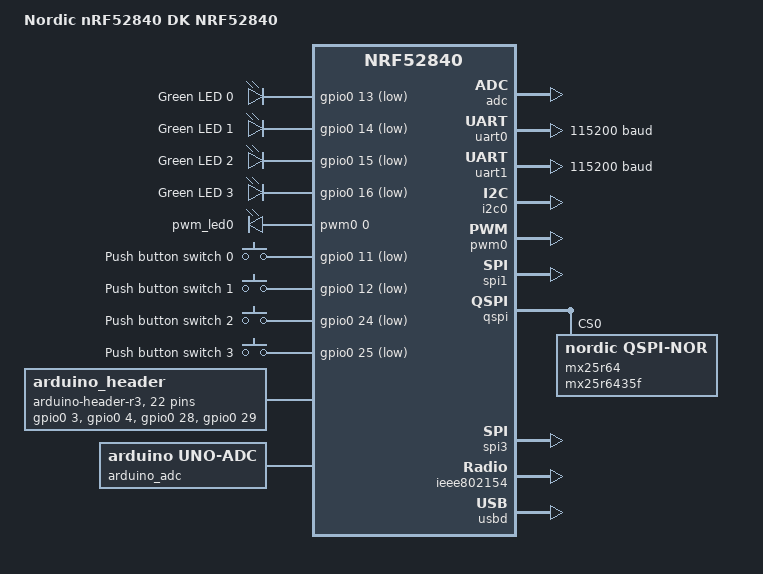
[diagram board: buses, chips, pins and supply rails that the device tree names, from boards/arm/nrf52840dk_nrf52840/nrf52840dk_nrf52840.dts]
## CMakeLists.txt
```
# SPDX-License-Identifier: Apache-2.0

cmake_minimum_required(VERSION 3.20.0)

set(COMMON_PATH "C:/ncs/v2.4.2/modules/hal/nordic/nrfx/samples/common")
 
find_package(Zephyr REQUIRED HINTS $ENV{ZEPHYR_BASE})
project(nrf_5351)

target_include_directories(app PRIVATE  src/ADC
                                        src/FreqGenerator
)
                                        
target_sources(app PRIVATE  
                            src/FreqGenerator/FreqGenerator.c
                            src/ADC/ADCHandler.c
                            src/main.c)
```

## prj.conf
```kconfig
CONFIG_ADC=y
CONFIG_ADC_ASYNC=y
CONFIG_GPIO=y
CONFIG_STDOUT_CONSOLE=y
CONFIG_PRINTK=y
CONFIG_PWM=y
CONFIG_LOG_PRINTK=y
CONFIG_LOG_MODE_IMMEDIATE=y
CONFIG_PWM_LOG_LEVEL_DBG=y
CONFIG_NEWLIB_LIBC=y
CONFIG_ADC_NRFX_SAADC=y
CONFIG_NRFX_SAADC=y
CONFIG_LOG=y
CONFIG_PM=y
CONFIG_PM_DEVICE=y
#CONFIG_TRACING_SYSCALL=y

#RTC lib enabling
CONFIG_I2C=y

CONFIG_BT=y
CONFIG_BT_PERIPHERAL=y
CONFIG_BT_DEVICE_NAME="VISENSE_CAPSENSE"
CONFIG_BT_CTLR_ADV_EXT=y
CONFIG_BT_EXT_ADV=y
CONFIG_BT_CTLR_ADV_DATA_LEN_MAX=251

CONFIG_BT_USER_DATA_LEN_UPDATE=y
CONFIG_BT_USER_PHY_UPDATE=y
CONFIG_BT_GAP_AUTO_UPDATE_CONN_PARAMS=n
CONFIG_HEAP_MEM_POOL_SIZE=9216
CONFIG_BT_BUF_ACL_RX_SIZE=498
CONFIG_BT_ATT_PREPARE_COUNT=2
CONFIG_BT_L2CAP_TX_MTU=494

CONFIG_BT_BUF_ACL_TX_COUNT=10
CONFIG_BT_BUF_ACL_TX_SIZE=498
CONFIG_BT_AUTO_PHY_UPDATE=y
CONFIG_BT_CTLR_DATA_LENGTH_MAX=251

CONFIG_LOG_DEFAULT_LEVEL=3

# CONFIG_FLASH=y
# CONFIG_FLASH_PAGE_LAYOUT=y

# CONFIG_NVS=y
# CONFIG_NVS_LOG_LEVEL_DBG=y
CONFIG_REBOOT=y
# CONFIG_MPU_ALLOW_FLASH_WRITE=y

#Enable timer1
CONFIG_NRFX_TIMER1=y

#temperature sensor
CONFIG_SENSOR=y
CONFIG_W1=y
CONFIG_SENSOR_LOG_LEVEL_DBG=y

#Floating point support
CONFIG_CBPRINTF_FP_SUPPORT=y
CONFIG_NEWLIB_LIBC_FLOAT_PRINTF=y
CONFIG_CBPRINTF_COMPLETE=y
```

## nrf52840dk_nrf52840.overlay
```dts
// To get started, press Ctrl+Space to bring up the completion menu and view the available nodes.

// You can also use the buttons in the sidebar to perform actions on nodes.
// Actions currently available include:

// * Enabling / disabling the node
// * Adding the bus to a bus
// * Removing the node
// * Connecting ADC channels

// For more help, browse the DeviceTree documentation at https://docs.zephyrproject.org/latest/guides/dts/index.html
// You can also visit the nRF DeviceTree extension documentation at https://nrfconnect.github.io/vscode-nrf-connect/devicetree/nrfdevicetree.html
&i2c0 {
	compatible = "nordic,nrf-twi";
	status = "okay";
	pinctrl-0 = <&i2c0_default>;
	pinctrl-1 = <&i2c0_sleep>;
	pinctrl-names = "default", "sleep";
};
```

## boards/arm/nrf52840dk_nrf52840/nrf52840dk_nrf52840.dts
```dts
/*
 * Copyright (c) 2017 Linaro Limited
 *
 * SPDX-License-Identifier: Apache-2.0
 */

/dts-v1/;
#include <nordic/nrf52840_qiaa.dtsi>
#include "nrf52840dk_nrf52840-pinctrl.dtsi"

/ {
	model = "Nordic nRF52840 DK NRF52840";
	compatible = "nordic,nrf52840-dk-nrf52840";

	chosen {
		zephyr,console = &uart0;
		zephyr,shell-uart = &uart0;
		zephyr,uart-mcumgr = &uart0;
		zephyr,bt-mon-uart = &uart0;
		zephyr,bt-c2h-uart = &uart0;
		zephyr,sram = &sram0;
		zephyr,flash = &flash0;
		zephyr,code-partition = &slot0_partition;
		zephyr,ieee802154 = &ieee802154;
	};

	leds {
		compatible = "gpio-leds";
		led0: led_0 {
			gpios = <&gpio0 13 GPIO_ACTIVE_LOW>;
			label = "Green LED 0";
		};
		led1: led_1 {
			gpios = <&gpio0 14 GPIO_ACTIVE_LOW>;
			label = "Green LED 1";
		};
		led2: led_2 {
			gpios = <&gpio0 15 GPIO_ACTIVE_LOW>;
			label = "Green LED 2";
		};
		led3: led_3 {
			gpios = <&gpio0 16 GPIO_ACTIVE_LOW>;
			label = "Green LED 3";
		};
	};
	
	powerpins {
		testpin0: testpin_0 {
			compatible = "eac,testpin";
			gpios = <&gpio1 11 GPIO_ACTIVE_LOW>;
			status = "okay";
		};
		testpin1: testpin_1 {
			compatible = "eac,testpin";
			gpios = <&gpio1 10 GPIO_ACTIVE_LOW>;
			status = "okay";
		};
		muxinputa: muxinput_a {
			compatible = "eac,testpin";
			gpios = <&gpio1 6 GPIO_ACTIVE_LOW>;
			status = "okay";
		};
		muxinputb: muxinput_b {
			compatible = "eac,testpin";
			gpios = <&gpio1 7 GPIO_ACTIVE_LOW>;
			status = "okay";
		};
		muxenable: mux_enable {
			compatible = "eac,testpin";
			gpios = <&gpio1 5 GPIO_ACTIVE_LOW>;
			status = "okay";
		};		
	};
	
	pwmleds {
		compatible = "pwm-leds";
		pwm_led0: pwm_led_0 {
			pwms = <&pwm0 0 PWM_MSEC(20) PWM_POLARITY_INVERTED>;
		};
	};

	buttons {
		compatible = "gpio-keys";
		button0: button_0 {
			gpios = <&gpio0 11 (GPIO_PULL_UP | GPIO_ACTIVE_LOW)>;
			label = "Push button switch 0";
		};
		button1: button_1 {
			gpios = <&gpio0 12 (GPIO_PULL_UP | GPIO_ACTIVE_LOW)>;
			label = "Push button switch 1";
		};
		button2: button_2 {
			gpios = <&gpio0 24 (GPIO_PULL_UP | GPIO_ACTIVE_LOW)>;
			label = "Push button switch 2";
		};
		button3: button_3 {
			gpios = <&gpio0 25 (GPIO_PULL_UP | GPIO_ACTIVE_LOW)>;
			label = "Push button switch 3";
		};
	};

	arduino_header: connector {
		compatible = "arduino-header-r3";
		#gpio-cells = <2>;
		gpio-map-mask = <0xffffffff 0xffffffc0>;
		gpio-map-pass-thru = <0 0x3f>;
		gpio-map = <0 0 &gpio0 3 0>,	/* A0 */
			   <1 0 &gpio0 4 0>,	/* A1 */
			   <2 0 &gpio0 28 0>,	/* A2 */
			   <3 0 &gpio0 29 0>,	/* A3 */
			   <4 0 &gpio0 30 0>,	/* A4 */
			   <5 0 &gpio0 31 0>,	/* A5 */
			   <6 0 &gpio1 1 0>,	/* D0 */
			   <7 0 &gpio1 2 0>,	/* D1 */
			   <8 0 &gpio1 3 0>,	/* D2 */
			   <9 0 &gpio1 4 0>,	/* D3 */
			   <10 0 &gpio1 5 0>,	/* D4 */
			   <11 0 &gpio1 6 0>,	/* D5 */
			   <12 0 &gpio1 7 0>,	/* D6 */
			   <13 0 &gpio1 8 0>,	/* D7 */
			   <14 0 &gpio1 10 0>,	/* D8 */
			   <15 0 &gpio1 11 0>,	/* D9 */
			   <16 0 &gpio1 12 0>,	/* D10 */
			   <17 0 &gpio1 13 0>,	/* D11 */
			   <18 0 &gpio1 14 0>,	/* D12 */
			   <19 0 &gpio1 15 0>,	/* D13 */
			   <20 0 &gpio0 26 0>,	/* D14 */
			   <21 0 &gpio0 27 0>;	/* D15 */
	};

	arduino_adc: analog-connector {
		compatible = "arduino,uno-adc";
		#io-channel-cells = <1>;
		io-channel-map = <0 &adc 1>;	/* A0 = P0.3 = AIN1 */
	};

	/* These aliases are provided for compatibility with samples */
	aliases {
		led0 = &led0;
		led1 = &led1;
		led2 = &led2;
		led3 = &led3;
		pwm-led0 = &pwm_led0;
		testpin0 = &testpin0;
		testpin1 = &testpin1;
		muxinputa = &muxinputa;
		muxinputb  = &muxinputb;
		muxenable = &muxenable;
		sw0 = &button0;
		sw1 = &button1;
		sw2 = &button2;
		sw3 = &button3;
		bootloader-led0 = &led0;
		mcuboot-button0 = &button0;
		mcuboot-led0 = &led0;
		watchdog0 = &wdt0;
		spi-flash0 = &mx25r64;
	};
};

&adc {
	status = "okay";
};

&gpiote {
	status = "okay";
};

&gpio0 {
	status = "okay";
};

&gpio1 {
	status = "okay";
};

&uart0 {
	compatible = "nordic,nrf-uarte";
	status = "okay";
	current-speed = <115200>;
	pinctrl-0 = <&uart0_default>;
	pinctrl-1 = <&uart0_sleep>;
	pinctrl-names = "default", "sleep";
};

arduino_serial: &uart1 {
	current-speed = <115200>;
	pinctrl-0 = <&uart1_default>;
	pinctrl-1 = <&uart1_sleep>;
	pinctrl-names = "default", "sleep";
};

arduino_i2c: &i2c0 {
	compatible = "nordic,nrf-twi";
	status = "okay";
	pinctrl-0 = <&i2c0_default>;
	pinctrl-1 = <&i2c0_sleep>;
	pinctrl-names = "default", "sleep";
};

&i2c1 {
	compatible = "nordic,nrf-twi";
	/* Cannot be used together with spi1. */
	pinctrl-0 = <&i2c1_default>;
	pinctrl-1 = <&i2c1_sleep>;
	pinctrl-names = "default", "sleep";
};

&pwm0 {
	status = "okay";
	pinctrl-0 = <&pwm0_default>;
	pinctrl-1 = <&pwm0_sleep>;
	pinctrl-names = "default", "sleep";
};

&spi0 {
	compatible = "nordic,nrf-spi";
	/* Cannot be used together with i2c0. */
	/* status = "okay"; */
	pinctrl-0 = <&spi0_default>;
	pinctrl-1 = <&spi0_sleep>;
	pinctrl-names = "default", "sleep";
};

&spi1 {
	compatible = "nordic,nrf-spi";
	status = "okay";
	pinctrl-0 = <&spi1_default>;
	pinctrl-1 = <&spi1_sleep>;
	pinctrl-names = "default", "sleep";
};

&spi2 {
	compatible = "nordic,nrf-spi";
	status = "disabled";
	pinctrl-0 = <&spi2_default>;
	pinctrl-1 = <&spi2_sleep>;
	pinctrl-names = "default", "sleep";
};

&qspi {
	status = "okay";
	pinctrl-0 = <&qspi_default>;
	pinctrl-1 = <&qspi_sleep>;
	pinctrl-names = "default", "sleep";
	mx25r64: mx25r6435f@0 {
		compatible = "nordic,qspi-nor";
		reg = <0>;
		/* MX25R64 supports only pp and pp4io */
		writeoc = "pp4io";
		/* MX25R64 supports all readoc options */
		readoc = "read4io";
		sck-frequency = <8000000>;
		jedec-id = [c2 28 17];
		sfdp-bfp = [
			e5 20 f1 ff  ff ff ff 03  44 eb 08 6b  08 3b 04 bb
			ee ff ff ff  ff ff 00 ff  ff ff 00 ff  0c 20 0f 52
			10 d8 00 ff  23 72 f5 00  82 ed 04 cc  44 83 68 44
			30 b0 30 b0  f7 c4 d5 5c  00 be 29 ff  f0 d0 ff ff
		];
		size = <67108864>;
		has-dpd;
		t-enter-dpd = <10000>;
		t-exit-dpd = <35000>;
	};
};

arduino_spi: &spi3 {
	status = "okay";
	cs-gpios = <&arduino_header 16 GPIO_ACTIVE_LOW>; /* D10 */
	pinctrl-0 = <&spi3_default>;
	pinctrl-1 = <&spi3_sleep>;
	pinctrl-names = "default", "sleep";
};

&ieee802154 {
	status = "okay";
};

&flash0 {

	partitions {
		compatible = "fixed-partitions";
		#address-cells = <1>;
		#size-cells = <1>;

		boot_partition: partition@0 {
			label = "mcuboot";
			reg = <0x00000000 0x0000C000>;
		};
		slot0_partition: partition@c000 {
			label = "image-0";
			reg = <0x0000C000 0x00076000>;
		};
		slot1_partition: partition@82000 {
			label = "image-1";
			reg = <0x00082000 0x00076000>;
		};

		/*
		 * The flash starting at 0x000f8000 and ending at
		 * 0x000fffff is reserved for use by the application.
		 */

		/*
		 * Storage partition will be used by FCB/LittleFS/NVS
		 * if enabled.
		 */
		storage_partition: partition@f8000 {
			label = "storage";
			reg = <0x000f8000 0x00008000>;
		};
	};
};

zephyr_udc0: &usbd {
	compatible = "nordic,nrf-usbd";
	status = "okay";
};
```

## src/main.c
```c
/**
 * @file   main.c
 * @brief  This is a GPSTracker application
 * @date   15-10-2023
 * @author Adhil
 */

/************************INCLUDES***************************/
#include "FreqGenerator/FreqGenerator.h"
#include "ADC/AdcHandler.h"
#include <zephyr/kernel.h>
#include <zephyr/drivers/gpio.h>
#include <zephyr/devicetree.h>
#include <zephyr/device.h>
#include <zephyr/sys/printk.h>
#include <zephyr/sys/util.h>
#include <stdlib.h>
#include <stdio.h>
#include <zephyr/sys/reboot.h>

/*************************MACROS****************************/

/*************************TYPEDEFS***************************/

/***************************FUNCTION DECLARATION******************************/


/***************************GLOBAL VARIABLES******************************/

/*************************FUNTION DEFINITION******************************/
/**
 * @brief  main function
 * @param  None
 * @return 0 on exit
 */

int main(void)
{
	uint16_t usADCResult = 0;
	si5351aSetFrequency(8000000);
	InitADC();
    InitMuxInputPins();

	while (1)
	{
        /*0th channel mwasurement*/
        SelectMuxChannel(0);
		usADCResult = AnalogRead();
		printk("ADC Reading1 = %d\n\r", usADCResult);
		k_msleep(1000);

        /*1st channel measurement*/
        SelectMuxChannel(1);
		usADCResult = AnalogRead();
		printk("ADC Reading2 = %d\n\r", usADCResult);
		k_msleep(1000);

        /*2nd channel measurement*/
        SelectMuxChannel(2);
		usADCResult = AnalogRead();
		printk("ADC Reading3 = %d\n\r", usADCResult);
        printk("\n\r");
		k_msleep(1000);
	}
}

#if 0
/*This banner is added after the full feature implementation*/
/**
 * @brief  printing visense banner
 * @param  None
 * @return None
*/
static void PrintBanner()
{
    printk("\n\r");
    printk("'##::::'##:'####::'######::'########:'##::: ##::'######::'########:\n\r");
    k_msleep(50);
    printk("##:::: ##:. ##::'##... ##: ##.....:: ###:: ##:'##... ##: ##.....::\n\r");
    k_msleep(50);
    printk("##:::: ##:: ##:: ##:::..:: ##::::::: ####: ##: ##:::..:: ##:::::::\n\r");
    k_msleep(50);
    printk("##:::: ##:: ##::. ######:: ######::: ## ## ##:. ######:: ######:::\n\r");
    k_msleep(50);
    printk(". ##:: ##::: ##:::..... ##: ##...:::: ##. ####::..... ##: ##...::::\n\r");
    k_msleep(50);
    printk(":. ## ##:::: ##::'##::: ##: ##::::::: ##:. ###:'##::: ##: ##:::::::\n\r");
    k_msleep(50);
    printk("::. ###::::'####:. ######:: ########: ##::. ##:. ######:: ########:\n\r");
    k_msleep(50);
    printk(":::...:::::....:::......:::........::..::::..:::......:::........::\n\r");
    k_msleep(50);
    printk("\n\r");
}
#endif
```
